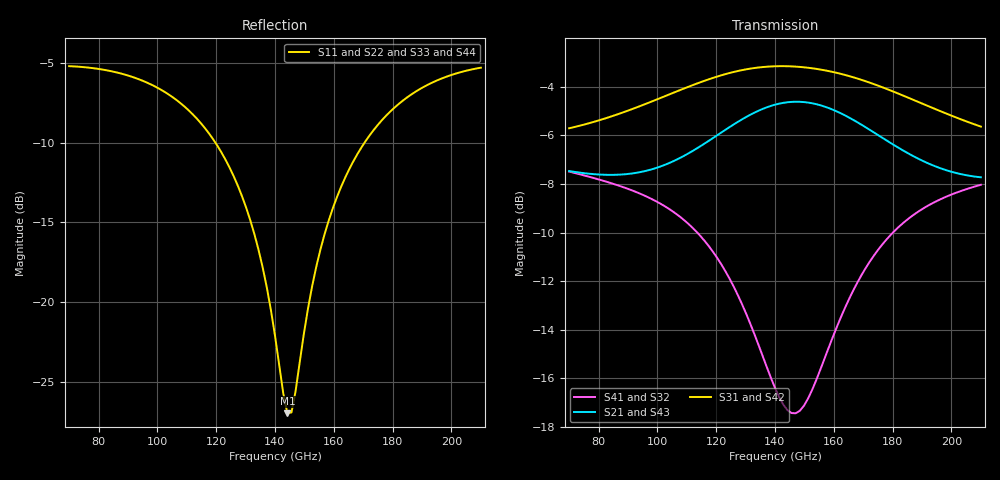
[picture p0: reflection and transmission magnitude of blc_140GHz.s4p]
#  GHZ S DB R 50
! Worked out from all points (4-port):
!   101 points, 70 GHz to 210 GHz, reference 50 ohm
!   strongest paths, dB at 70 GHz, 105 GHz, 140 GHz, 175 GHz, 210 GHz:
!     S31: -5.7, -4.3, -3.2, -3.9, -5.6
!     S42: -5.7, -4.3, -3.2, -3.9, -5.6
!     S21: -7.5, -7.1, -4.7, -6.0, -7.7
!     S43: -7.5, -7.1, -4.7, -6.0, -7.7
!     S41: -7.5, -9.1, -16.4, -10.7, -8.0
!     S32: -7.5, -9.1, -16.4, -10.7, -8.0
!   lowest |S11| = -27.0 dB at 144.2 GHz (marker M1), VSWR 1.09, Z = 54.7 + j0.492 ohm
!   |S11| at or under -10 dB: 119.7 GHz to 170.4 GHz (50.69 GHz wide, 34.9 % of centre)
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70  -5.20 157.9  -7.47 -48.3  -5.71 -79.7  -7.49 -62.3
    -7.47 -48.3  -5.20 157.9  -7.49 -62.2  -5.71 -79.7
    -5.71 -79.7  -7.49 -62.2  -5.20 157.9  -7.47 -48.3
    -7.49 -62.3  -5.71 -79.7  -7.47 -48.3  -5.20 157.9
120.4  -10.19 106.9  -5.99 -70.0  -3.57 -145.3  -11.06 -110.2
       -5.99 -70.0  -10.17 106.9  -11.04 -110.3  -3.58 -145.3
       -3.57 -145.3  -11.04 -110.3  -10.19 106.8  -5.99 -70.0
       -11.06 -110.2  -3.58 -145.3  -5.99 -70.0  -10.17 106.9
134.4  -16.71 79.7  -4.98 -83.4  -3.20 -167.8  -14.63 -116.3
       -4.98 -83.4  -16.68 79.6  -14.62 -116.5  -3.20 -167.8
       -3.20 -167.8  -14.62 -116.5  -16.73 79.5  -4.99 -83.4
       -14.63 -116.3  -3.20 -167.8  -4.99 -83.4  -16.67 79.7
144.2  -26.96 5.7  -4.64 -95.2  -3.15 176.0  -17.31 -101.1
       -4.64 -95.2  -26.83 6.3  -17.31 -101.4  -3.15 176.1
       -3.15 176.0  -17.31 -101.4  -26.88 5.0  -4.64 -95.2
       -17.31 -101.1  -3.15 176.1  -4.64 -95.2  -26.89 6.7
155.4  -16.73 -91.8  -4.76 -109.2  -3.29 157.7  -15.65 -75.8
       -4.76 -109.2  -16.74 -91.4  -15.68 -76.0  -3.28 157.7
       -3.29 157.7  -15.68 -76.0  -16.68 -91.7  -4.76 -109.2
       -15.65 -75.8  -3.28 157.7  -4.76 -109.2  -16.77 -91.6
166.6  -11.18 -113.8  -5.36 -121.6  -3.61 139.9  -12.39 -75.0
       -5.36 -121.6  -11.18 -113.6  -12.41 -75.0  -3.60 139.9
       -3.61 139.9  -12.41 -75.0  -11.15 -113.7  -5.36 -121.6
       -12.39 -75.0  -3.60 139.9  -5.36 -121.6  -11.20 -113.8
210  -5.29 -161.2  -7.72 -146.0  -5.64 80.9  -8.03 -116.4
     -7.72 -146.0  -5.29 -161.0  -8.05 -116.4  -5.63 80.9
     -5.64 80.9  -8.05 -116.4  -5.29 -161.1  -7.72 -145.9
     -8.03 -116.4  -5.63 80.9  -7.72 -145.9  -5.30 -161.2
